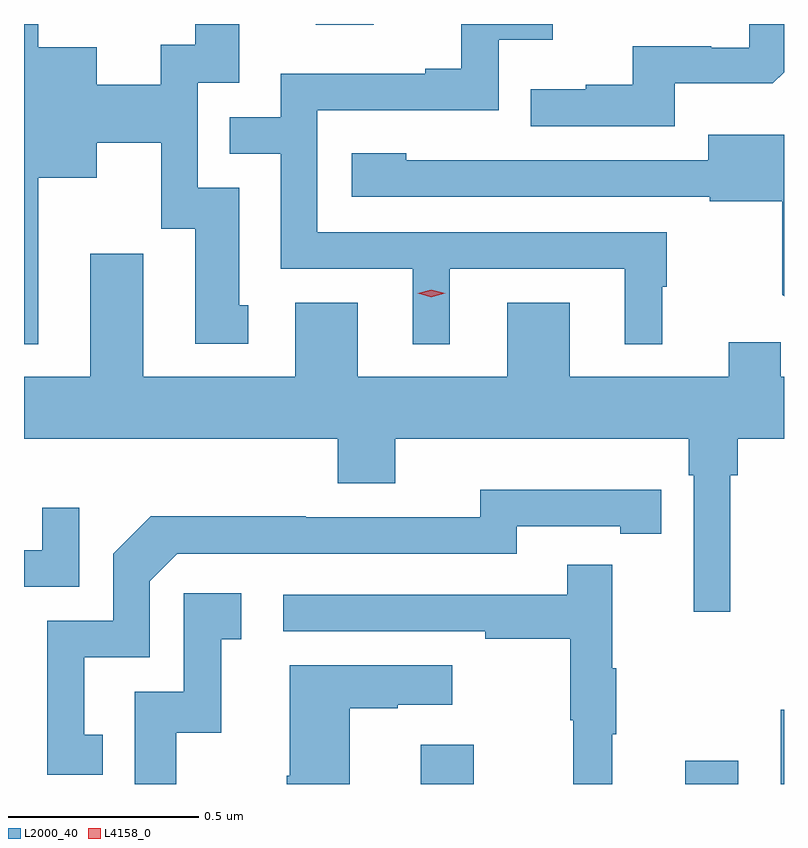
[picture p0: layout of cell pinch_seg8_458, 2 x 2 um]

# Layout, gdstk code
import gdstk
lib = gdstk.Library(unit=1e-6, precision=1e-09)
def R(c, l, rs):  # rectangles x0, y0, x1, y1
    for r in rs: c.add(gdstk.rectangle(r[:2], r[2:], *l))
def P(c, l, *ps):  # polygons
    for p in ps: c.add(gdstk.Polygon(p, *l))
L2000_40 = (2000, 40)
L4158_0 = (4158, 0)

pinch_seg8_458 = lib.new_cell('pinch_seg8_458')
R(pinch_seg8_458, L2000_40, [(313.319,1136.904,313.459,1137.007), (314.015,1136.904,314.155,1136.965), (314.267,1136.904,314.275,1137.1), (313.043,1138.902,313.195,1138.904)])
P(pinch_seg8_458, L2000_40, [(312.313,1138.499),(312.466,1138.499),(312.466,1138.592),(312.636,1138.592),(312.636,1138.365),(312.725,1138.365),(312.725,1138.062),(312.865,1138.062),(312.865,1138.164),(312.841,1138.164),(312.841,1138.473),(312.732,1138.473),(312.732,1138.749),(312.841,1138.749),(312.841,1138.904),(312.725,1138.904),(312.725,1138.85),(312.635,1138.85),(312.635,1138.744),(312.466,1138.744),(312.466,1138.843),(312.313,1138.843),(312.313,1138.904),(312.275,1138.904),(312.275,1138.061),(312.313,1138.061)],
  [(313.396,1138.26),(313.856,1138.26),(313.856,1138.061),(313.954,1138.061),(313.954,1138.212),(313.966,1138.212),(313.966,1138.356),(313.047,1138.356),(313.047,1138.677),(313.524,1138.677),(313.524,1138.862),(313.666,1138.862),(313.666,1138.904),(313.426,1138.904),(313.426,1138.786),(313.331,1138.786),(313.331,1138.773),(312.951,1138.773),(312.951,1138.659),(312.817,1138.659),(312.817,1138.563),(312.951,1138.563),(312.951,1138.26),(313.298,1138.26),(313.298,1138.061),(313.396,1138.061)],
  [(313.987,1138.748),(314.245,1138.748),(314.275,1138.777),(314.275,1138.904),(314.184,1138.904),(314.184,1138.842),(314.084,1138.842),(314.084,1138.845),(313.877,1138.845),(313.877,1138.744),(313.753,1138.744),(313.753,1138.732),(313.609,1138.732),(313.609,1138.635),(313.987,1138.635)],
  [(314.275,1138.612),(314.075,1138.612),(314.075,1138.545),(313.517,1138.545),(313.517,1138.546),(313.281,1138.546),(313.281,1138.564),(313.137,1138.564),(313.137,1138.449),(314.079,1138.449),(314.079,1138.437),(314.271,1138.437),(314.271,1138.191),(314.275,1138.187)],
  [(314.134,1137.716),(314.153,1137.716),(314.153,1137.812),(314.275,1137.812),(314.275,1137.976),(314.267,1137.976),(314.267,1138.067),(314.129,1138.067),(314.129,1137.976),(313.711,1137.976),(313.711,1138.171),(313.547,1138.171),(313.547,1137.976),(313.153,1137.976),(313.153,1138.171),(312.989,1138.171),(312.989,1137.976),(312.589,1137.976),(312.589,1138.3),(312.449,1138.3),(312.449,1137.976),(312.275,1137.976),(312.275,1137.812),(313.1,1137.812),(313.1,1137.695),(313.252,1137.695),(313.252,1137.812),(314.024,1137.812),(314.024,1137.716),(314.037,1137.716),(314.037,1137.357),(314.134,1137.357)],
  [(312.482,1137.033),(312.433,1137.033),(312.433,1137.237),(312.606,1137.237),(312.606,1137.438),(312.678,1137.51),(313.572,1137.51),(313.572,1137.582),(313.844,1137.582),(313.844,1137.562),(313.952,1137.562),(313.952,1137.678),(313.844,1137.678),(313.844,1137.679),(313.476,1137.679),(313.476,1137.606),(313.016,1137.606),(313.016,1137.608),(312.608,1137.608),(312.51,1137.51),(312.51,1137.333),(312.336,1137.333),(312.336,1136.928),(312.482,1136.928)],
  [(312.42,1137.631),(312.323,1137.631),(312.323,1137.519),(312.275,1137.519),(312.275,1137.423),(312.42,1137.423)],
  [(313.823,1137.035),(313.834,1137.035),(313.834,1137.209),(313.823,1137.209),(313.823,1137.481),(313.705,1137.481),(313.705,1137.402),(312.957,1137.402),(312.957,1137.306),(313.489,1137.306),(313.489,1137.286),(313.713,1137.286),(313.713,1137.072),(313.72,1137.072),(313.72,1136.904),(313.823,1136.904)],
  [(312.676,1137.039),(312.794,1137.039),(312.794,1137.285),(312.847,1137.285),(312.847,1137.406),(312.696,1137.406),(312.696,1137.147),(312.567,1137.147),(312.567,1136.904),(312.676,1136.904)],
  [(313.132,1137.103),(313.259,1137.103),(313.259,1137.113),(313.402,1137.113),(313.402,1137.217),(312.974,1137.217),(312.974,1136.926),(312.967,1136.926),(312.967,1136.904),(313.132,1136.904)])
P(pinch_seg8_458, L4158_0, [(313.347,1138.185),(313.311,1138.195),(313.311,1138.195),(313.311,1138.195),(313.347,1138.205),(313.383,1138.195),(313.383,1138.195),(313.383,1138.195)])

lib.write_gds('pinch_seg8_458.gds')
